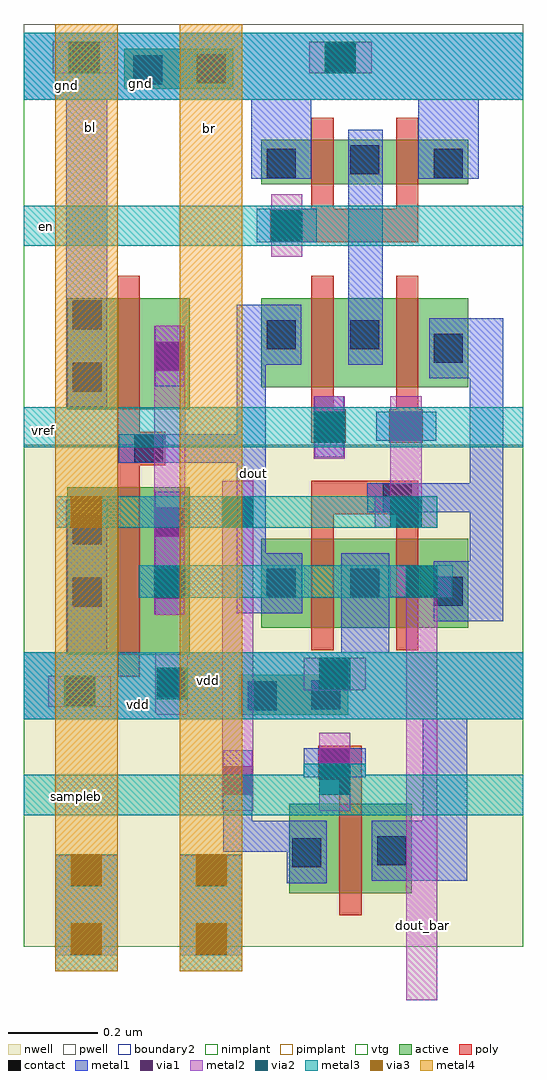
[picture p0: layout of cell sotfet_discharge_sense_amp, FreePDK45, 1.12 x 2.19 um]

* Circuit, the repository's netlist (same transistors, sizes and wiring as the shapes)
************************************************************************
* auCdl Netlist:
* 
* Library Name:  openram_sot
* Top Cell Name: sotfet_discharge_sense_amp
* View Name:     schematic
* Netlisted on:  Apr 25 02:52:09 2021
************************************************************************

*.EQUATION
*.SCALE METER
*.MEGA
.PARAM



************************************************************************
* Library Name: openram_sot
* Cell Name:    sotfet_discharge_sense_amp
* View Name:    schematic
************************************************************************

.SUBCKT sotfet_discharge_sense_amp bl br dout dout_bar en gnd sampleb vdd vref
MM7 net020 net020 vdd vdd PMOS_VTG W=200n L=50n m=1
MM6 dout net020 vdd vdd PMOS_VTG W=200n L=50n m=1
MM4 dout_bar dout vdd vdd PMOS_VTG W=375.00n L=50n m=1
MM0 bl sampleb vdd vdd PMOS_VTG W=200n L=50n m=1
MM3 dout_bar dout gnd gnd NMOS_VTG W=250.0n L=50n m=1
MM10 net020 bl net019 gnd NMOS_VTG W=200n L=50n m=1
MM8 dout vref net019 gnd NMOS_VTG W=200n L=50n m=1
MM9 net019 en gnd gnd NMOS_VTG W=200n L=50n m=1
.ENDS

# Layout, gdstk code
from math import pi, radians
import gdstk
lib = gdstk.Library(unit=1e-6, precision=5e-10)
def R(c, l, rs):  # rectangles x0, y0, x1, y1
    for r in rs: c.add(gdstk.rectangle(r[:2], r[2:], *l))
active = (1, 0)
pwell = (2, 0)
nwell = (3, 0)
nimplant = (4, 0)
pimplant = (5, 0)
vtg = (6, 0)
poly = (9, 0)
contact = (10, 0)
metal1 = (11, 0)
via1 = (12, 0)
metal2 = (13, 0)
via2 = (14, 0)
metal3 = (15, 0)
via3 = (16, 0)
metal4 = (17, 0)
boundary2 = (239, 0)

m4_m3_cdns_619333523640 = lib.new_cell('M4_M3_CDNS_619333523640')
R(m4_m3_cdns_619333523640, metal3, [(-0.1125,-0.07,0.1125,0.07)])
R(m4_m3_cdns_619333523640, via3, [(-0.1125,-0.035,-0.0425,0.035), (0.0425,-0.035,0.1125,0.035)])
R(m4_m3_cdns_619333523640, metal4, [(-0.1125,-0.07,0.1125,0.07)])

m1_poly_cdns_61933352364 = lib.new_cell('M1_POLY_CDNS_619333523641')
R(m1_poly_cdns_61933352364, poly, [(-0.0375,-0.0375,0.0375,0.0375)])
R(m1_poly_cdns_61933352364, contact, [(-0.0325,-0.0325,0.0325,0.0325)])
R(m1_poly_cdns_61933352364, metal1, [(-0.0325,-0.0675,0.0325,0.0675)])

m2_m1_cdns_619333523642 = lib.new_cell('M2_M1_CDNS_619333523642')
R(m2_m1_cdns_619333523642, metal1, [(-0.0325,-0.0675,0.0325,0.0675)])
R(m2_m1_cdns_619333523642, via1, [(-0.0325,-0.0325,0.0325,0.0325)])
R(m2_m1_cdns_619333523642, metal2, [(-0.035,-0.0675,0.035,0.0675)])

m3_m2_cdns_619333523643 = lib.new_cell('M3_M2_CDNS_619333523643')
R(m3_m2_cdns_619333523643, metal2, [(-0.035,-0.07,0.035,0.07)])
R(m3_m2_cdns_619333523643, via2, [(-0.035,-0.035,0.035,0.035)])
R(m3_m2_cdns_619333523643, metal3, [(-0.035,-0.07,0.035,0.07)])

m2_m1_cdns_619333523644 = lib.new_cell('M2_M1_CDNS_619333523644')
R(m2_m1_cdns_619333523644, metal1, [(-0.0325,-0.0675,0.0325,0.0675)])
R(m2_m1_cdns_619333523644, via1, [(-0.0325,-0.0325,0.0325,0.0325)])
R(m2_m1_cdns_619333523644, metal2, [(-0.0675,-0.035,0.0675,0.035)])

m3_m2_cdns_619333523645 = lib.new_cell('M3_M2_CDNS_619333523645')
R(m3_m2_cdns_619333523645, metal2, [(-0.035,-0.07,0.035,0.07)])
R(m3_m2_cdns_619333523645, via2, [(-0.035,-0.035,0.035,0.035)])
R(m3_m2_cdns_619333523645, metal3, [(-0.07,-0.035,0.07,0.035)])

m3_m2_cdns_619333523646 = lib.new_cell('M3_M2_CDNS_619333523646')
R(m3_m2_cdns_619333523646, metal2, [(-0.07,-0.1125,0.07,0.1125)])
R(m3_m2_cdns_619333523646, via2, [(-0.035,-0.1125,0.035,-0.0425), (-0.035,0.0425,0.035,0.1125)])
R(m3_m2_cdns_619333523646, metal3, [(-0.07,-0.1125,0.07,0.1125)])

m3_m2_cdns_619333523647 = lib.new_cell('M3_M2_CDNS_619333523647')
R(m3_m2_cdns_619333523647, metal2, [(-0.07,-0.035,0.07,0.035)])
R(m3_m2_cdns_619333523647, via2, [(-0.035,-0.035,0.035,0.035)])
R(m3_m2_cdns_619333523647, metal3, [(-0.035,-0.07,0.035,0.07)])

m1_n_cdns_619333523648 = lib.new_cell('M1_N_CDNS_619333523648')
R(m1_n_cdns_619333523648, active, [(-0.045,-0.045,0.045,0.045)])
R(m1_n_cdns_619333523648, nimplant, [(-0.045,-0.045,0.045,0.045)])
R(m1_n_cdns_619333523648, contact, [(-0.0325,-0.0325,0.0325,0.0325)])
R(m1_n_cdns_619333523648, metal1, [(-0.0325,-0.0675,0.0325,0.0675)])

m2_m1_cdns_619333523649 = lib.new_cell('M2_M1_CDNS_619333523649')
R(m2_m1_cdns_619333523649, metal1, [(-0.0325,-0.1375,0.0325,0.1375)])
R(m2_m1_cdns_619333523649, via1, [(-0.0325,-0.1025,0.0325,-0.0375), (-0.0325,0.0375,0.0325,0.1025)])
R(m2_m1_cdns_619333523649, metal2, [(-0.035,-0.1375,0.035,0.1375)])

m1_p_cdns_6193335236410 = lib.new_cell('M1_P_CDNS_6193335236410')
R(m1_p_cdns_6193335236410, active, [(-0.045,-0.1075,0.045,0.1075)])
R(m1_p_cdns_6193335236410, pimplant, [(-0.045,-0.1075,0.045,0.1075)])
R(m1_p_cdns_6193335236410, contact, [(-0.0325,-0.1025,0.0325,-0.0375), (-0.0325,0.0375,0.0325,0.1025)])
R(m1_p_cdns_6193335236410, metal1, [(-0.0325,-0.1375,0.0325,0.1375)])

m1_n_cdns_6193335236411 = lib.new_cell('M1_N_CDNS_6193335236411')
R(m1_n_cdns_6193335236411, active, [(-0.045,-0.1075,0.045,0.1075)])
R(m1_n_cdns_6193335236411, nimplant, [(-0.045,-0.1075,0.045,0.1075)])
R(m1_n_cdns_6193335236411, contact, [(-0.0325,-0.1025,0.0325,-0.0375), (-0.0325,0.0375,0.0325,0.1025)])
R(m1_n_cdns_6193335236411, metal1, [(-0.0325,-0.1375,0.0325,0.1375)])

m4_m3_cdns_6193335236412 = lib.new_cell('M4_M3_CDNS_6193335236412')
R(m4_m3_cdns_6193335236412, metal3, [(-0.035,-0.07,0.035,0.07)])
R(m4_m3_cdns_6193335236412, via3, [(-0.035,-0.035,0.035,0.035)])
R(m4_m3_cdns_6193335236412, metal4, [(-0.07,-0.07,0.07,0.07)])

sotfet_discharge_sense_a = lib.new_cell('sotfet_discharge_sense_amp')
R(sotfet_discharge_sense_a, active, [(0.595,0.12,0.87,0.32), (0.4825,0.52,0.7275,0.61), (0.0975,0.655,0.3725,1.03), (0.5325,0.715,0.9975,0.915), (0.0975,1.205,0.3725,1.455), (0.5325,1.255,0.9975,1.455), (0.5325,1.71,0.9975,1.81), (0.225,1.925,0.47,2.015)])
R(sotfet_discharge_sense_a, pwell, [(0,1.125,1.12,2.07)])
R(sotfet_discharge_sense_a, nwell, [(0,0,1.12,1.125)])
R(sotfet_discharge_sense_a, nimplant, [(0.4825,0.52,0.7275,0.61), (0.0975,1.205,0.3725,1.455), (0.5325,1.255,0.9975,1.455), (0.5325,1.71,0.9975,1.81)])
R(sotfet_discharge_sense_a, pimplant, [(0.595,0.12,0.87,0.32), (0.0975,0.655,0.3725,1.03), (0.5325,0.715,0.9975,0.915), (0.225,1.925,0.47,2.015)])
R(sotfet_discharge_sense_a, vtg, [(0,0,1.12,2.05)])
R(sotfet_discharge_sense_a, poly, [(0.7075,0.07,0.7575,0.45), (0.66,0.375,0.735,0.45), (0.21,0.605,0.26,1.505), (0.645,0.665,0.695,1.0325), (0.835,0.665,0.885,1.0325), (0.645,0.97,0.885,1.045), (0.645,1.13,0.695,1.505), (0.835,1.13,0.885,1.505), (0.5525,1.58,0.885,1.655), (0.645,1.5925,0.695,1.86), (0.835,1.5925,0.885,1.86)])
R(sotfet_discharge_sense_a, contact, [(0.6025,0.1775,0.6675,0.2425), (0.7925,0.1825,0.8575,0.2475), (0.665,0.38,0.73,0.445), (0.5025,0.53,0.5675,0.595), (0.645,0.5325,0.71,0.5975), (0.92,0.765,0.985,0.83), (0.545,0.7825,0.61,0.8475), (0.7325,0.7825,0.7975,0.8475), (0.805,0.975,0.87,1.04), (0.92,1.31,0.985,1.375), (0.545,1.34,0.61,1.405), (0.7325,1.34,0.7975,1.405), (0.5575,1.585,0.6225,1.65), (0.545,1.725,0.61,1.79), (0.92,1.725,0.985,1.79), (0.7325,1.7325,0.7975,1.7975), (0.245,1.935,0.31,2), (0.3875,1.9375,0.4525,2.0025)])
R(sotfet_discharge_sense_a, metal1, [(0.59,0.1425,0.68,0.2825), (0.78,0.1475,0.965,0.2825), (0.895,0.1475,0.995,0.625), (0.4475,0.2125,0.6775,0.2825), (0.4475,0.2125,0.5125,0.325), (0.6275,0.38,0.7675,0.445), (0,0.51,1.12,0.66), (0.7125,0.585,0.82,0.8825), (0.095,0.6325,0.1875,1.0025), (0.92,0.73,1.075,0.865), (0.4775,0.7475,0.5425,1.44), (0.525,0.7475,0.625,0.8825), (1,0.7475,1.075,1.41), (0.77,0.975,1.0725,1.04), (0.2925,1.085,0.4875,1.15), (0.095,1.21,0.1875,1.98), (0.91,1.275,1.0075,1.41), (0.525,1.305,0.6225,1.44), (0.7275,1.305,0.805,1.8325), (0.5225,1.58,0.6575,1.655), (0.51,1.7225,0.645,1.9075), (0.885,1.7225,1.02,1.9525), (0,1.9,1.12,2.05)])
R(sotfet_discharge_sense_a, metal2, [(0.8575,-0.12,0.9275,0.8225), (0.445,0.4175,0.515,1.01), (0.2925,0.7475,0.3625,1.39), (0.8225,0.94,0.8925,1.2325)])
R(sotfet_discharge_sense_a, metal3, [(0.07,-0.055,0.21,0.205), (0.35,-0.055,0.49,0.205), (0,0.295,1.12,0.385), (0,0.51,1.12,0.66), (0.2575,0.7825,0.9625,0.855), (0.07,0.94,0.9075,1.01), (0,1.12,1.12,1.21), (0,1.5725,1.12,1.6625), (0,1.9,1.12,2.05)])
R(sotfet_discharge_sense_a, metal4, [(0.07,-0.055,0.21,2.07), (0.35,-0.055,0.49,2.07)])
R(sotfet_discharge_sense_a, boundary2, [(0,0,1.12,2.05)])
sotfet_discharge_sense_a.add(gdstk.Reference(m4_m3_cdns_619333523640, (0.14,0.095), rotation=pi/2))
sotfet_discharge_sense_a.add(gdstk.Reference(m4_m3_cdns_619333523640, (0.42,0.095), rotation=pi/2))
sotfet_discharge_sense_a.add(gdstk.Reference(m1_poly_cdns_61933352364, (0.685,1.1675)))
sotfet_discharge_sense_a.add(gdstk.Reference(m1_poly_cdns_61933352364, (0.8575,1.1675), rotation=pi/2))
sotfet_discharge_sense_a.add(gdstk.Reference(m1_poly_cdns_61933352364, (0.28,1.1175), rotation=3*pi/2, x_reflection=True))
sotfet_discharge_sense_a.add(gdstk.Reference(m2_m1_cdns_619333523642, (0.685,1.165), x_reflection=True))
sotfet_discharge_sense_a.add(gdstk.Reference(m2_m1_cdns_619333523642, (0.71,1.995), rotation=3*pi/2, x_reflection=True))
sotfet_discharge_sense_a.add(gdstk.Reference(m2_m1_cdns_619333523642, (0.3275,1.325)))
sotfet_discharge_sense_a.add(gdstk.Reference(m2_m1_cdns_619333523642, (0.48,0.3725)))
sotfet_discharge_sense_a.add(gdstk.Reference(m2_m1_cdns_619333523642, (0.695,0.61), rotation=3*pi/2))
sotfet_discharge_sense_a.add(gdstk.Reference(m2_m1_cdns_619333523642, (0.135,1.995), rotation=3*pi/2, x_reflection=True))
sotfet_discharge_sense_a.add(gdstk.Reference(m2_m1_cdns_619333523642, (0.1275,0.5725), rotation=pi/2))
sotfet_discharge_sense_a.add(gdstk.Reference(m2_m1_cdns_619333523642, (0.33,0.5925), rotation=pi))
sotfet_discharge_sense_a.add(gdstk.Reference(m3_m2_cdns_619333523643, (0.71,1.995), rotation=3*pi/2, x_reflection=True))
sotfet_discharge_sense_a.add(gdstk.Reference(m3_m2_cdns_619333523643, (0.8575,0.975), rotation=3*pi/2))
sotfet_discharge_sense_a.add(gdstk.Reference(m3_m2_cdns_619333523643, (0.6975,0.6125), rotation=pi/2))
sotfet_discharge_sense_a.add(gdstk.Reference(m3_m2_cdns_619333523643, (0.135,1.995), rotation=3*pi/2, x_reflection=True))
sotfet_discharge_sense_a.add(gdstk.Reference(m3_m2_cdns_619333523643, (0.8925,0.82), rotation=pi/2))
sotfet_discharge_sense_a.add(gdstk.Reference(m3_m2_cdns_619333523643, (0.3325,0.59)))
sotfet_discharge_sense_a.add(gdstk.Reference(m3_m2_cdns_619333523643, (0.125,0.5725), rotation=pi/2))
sotfet_discharge_sense_a.add(gdstk.Reference(m2_m1_cdns_619333523644, (0.8575,1.1675), rotation=pi/2))
sotfet_discharge_sense_a.add(gdstk.Reference(m2_m1_cdns_619333523644, (0.6975,0.4125), rotation=pi/2))
sotfet_discharge_sense_a.add(gdstk.Reference(m2_m1_cdns_619333523644, (0.59,1.6175), rotation=pi/2))
sotfet_discharge_sense_a.add(gdstk.Reference(m3_m2_cdns_619333523645, (0.6975,0.375)))
sotfet_discharge_sense_a.add(gdstk.Reference(m3_m2_cdns_619333523645, (0.48,0.975)))
sotfet_discharge_sense_a.add(gdstk.Reference(m3_m2_cdns_619333523645, (0.59,1.6175)))
sotfet_discharge_sense_a.add(gdstk.Reference(m3_m2_cdns_619333523645, (0.3275,0.82)))
sotfet_discharge_sense_a.add(gdstk.Reference(m3_m2_cdns_619333523646, (0.14,0.0925)))
sotfet_discharge_sense_a.add(gdstk.Reference(m3_m2_cdns_619333523646, (0.42,0.0925)))
sotfet_discharge_sense_a.add(gdstk.Reference(m3_m2_cdns_619333523647, (0.685,1.165), rotation=3*pi/2, x_reflection=True))
sotfet_discharge_sense_a.add(gdstk.Reference(m1_n_cdns_619333523648, (0.3275,1.325)))
sotfet_discharge_sense_a.add(gdstk.Reference(m2_m1_cdns_619333523649, (0.3275,0.8825)))
sotfet_discharge_sense_a.add(gdstk.Reference(m1_p_cdns_6193335236410, (0.3275,0.8825)))
sotfet_discharge_sense_a.add(gdstk.Reference(m1_p_cdns_6193335236410, (0.1425,0.865)))
sotfet_discharge_sense_a.add(gdstk.Reference(m1_n_cdns_6193335236411, (0.1425,1.3475)))
sotfet_discharge_sense_a.add(gdstk.Reference(m4_m3_cdns_6193335236412, (0.14,0.975), rotation=pi/2))
sotfet_discharge_sense_a.add(gdstk.Label('vdd', (0.2575,0.5425), layer=11, texttype=0))
sotfet_discharge_sense_a.add(gdstk.Label('dout', (0.515,1.0625), layer=11, texttype=0))
sotfet_discharge_sense_a.add(gdstk.Label('gnd', (0.095,1.9325), layer=11, texttype=0))
sotfet_discharge_sense_a.add(gdstk.Label('dout_bar', (0.895,0.0475), layer=13, texttype=0))
sotfet_discharge_sense_a.add(gdstk.Label('en', (0.05,1.615), layer=15, texttype=0))
sotfet_discharge_sense_a.add(gdstk.Label('vdd', (0.415,0.5975), layer=15, texttype=0))
sotfet_discharge_sense_a.add(gdstk.Label('vref', (0.045,1.1575), layer=15, texttype=0))
sotfet_discharge_sense_a.add(gdstk.Label('gnd', (0.2625,1.9375), layer=15, texttype=0))
sotfet_discharge_sense_a.add(gdstk.Label('sampleb', (0.1175,0.3375), layer=15, texttype=0))
sotfet_discharge_sense_a.add(gdstk.Label('bl', (0.15,1.8375), layer=17, texttype=0))
sotfet_discharge_sense_a.add(gdstk.Label('br', (0.4175,1.835), layer=17, texttype=0))

lib.write_gds('sotfet_discharge_sense_amp.gds')
